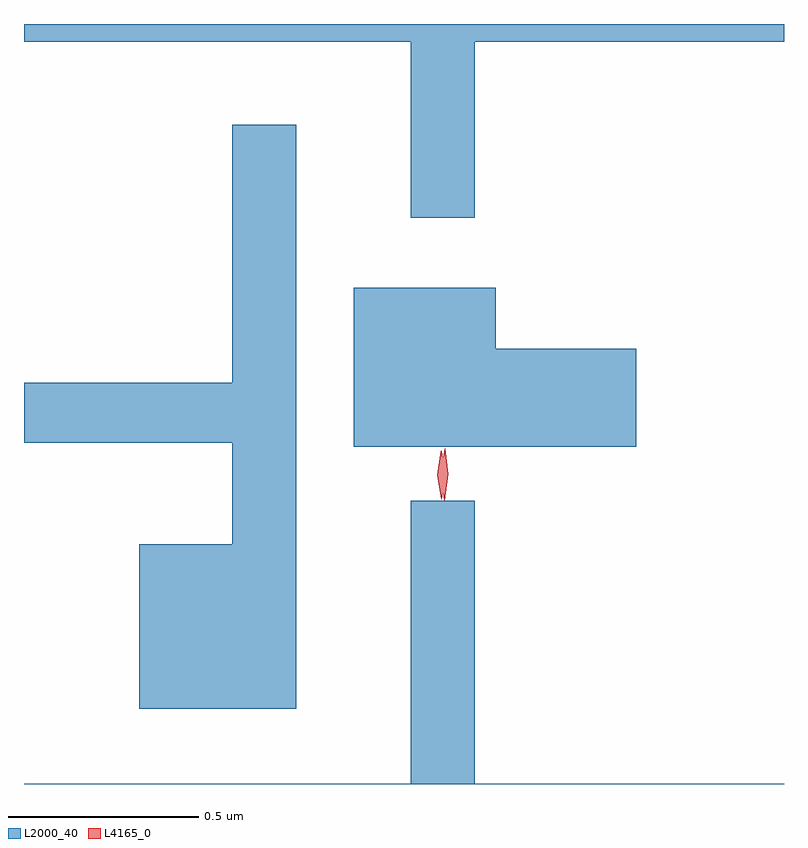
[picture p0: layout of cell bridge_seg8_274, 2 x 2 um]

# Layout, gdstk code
import gdstk
lib = gdstk.Library(unit=1e-6, precision=1e-09)
def P(c, l, *ps):  # polygons
    for p in ps: c.add(gdstk.Polygon(p, *l))
L2000_40 = (2000, 40)
L4165_0 = (4165, 0)

bridge_seg8_274 = lib.new_cell('bridge_seg8_274')
P(bridge_seg8_274, L2000_40, [(1228.129,1827.536),(1228.943,1827.536),(1228.943,1827.583),(1226.943,1827.583),(1226.943,1827.536),(1227.961,1827.536),(1227.961,1827.073),(1228.129,1827.073)],
  [(1227.659,1827.318),(1227.491,1827.318),(1227.491,1826.639),(1226.943,1826.639),(1226.943,1826.481),(1227.491,1826.481),(1227.491,1826.214),(1227.246,1826.214),(1227.246,1825.781),(1227.659,1825.781)],
  [(1228.554,1826.729),(1228.184,1826.729),(1228.184,1826.889),(1227.811,1826.889),(1227.811,1826.471),(1228.554,1826.471)],
  [(1228.943,1825.584),(1228.129,1825.584),(1228.129,1826.328),(1227.961,1826.328),(1227.961,1825.584),(1226.943,1825.584),(1226.943,1825.583),(1228.943,1825.583)])
P(bridge_seg8_274, L4165_0, [(1228.049,1826.33),(1228.049,1826.33),(1228.04,1826.398),(1228.05,1826.465),(1228.051,1826.466),(1228.052,1826.465),(1228.06,1826.398),(1228.05,1826.33)],
  [(1228.041,1826.333),(1228.031,1826.396),(1228.04,1826.459),(1228.041,1826.46),(1228.042,1826.459),(1228.051,1826.396),(1228.042,1826.333),(1228.042,1826.333)])

lib.write_gds('bridge_seg8_274.gds')
